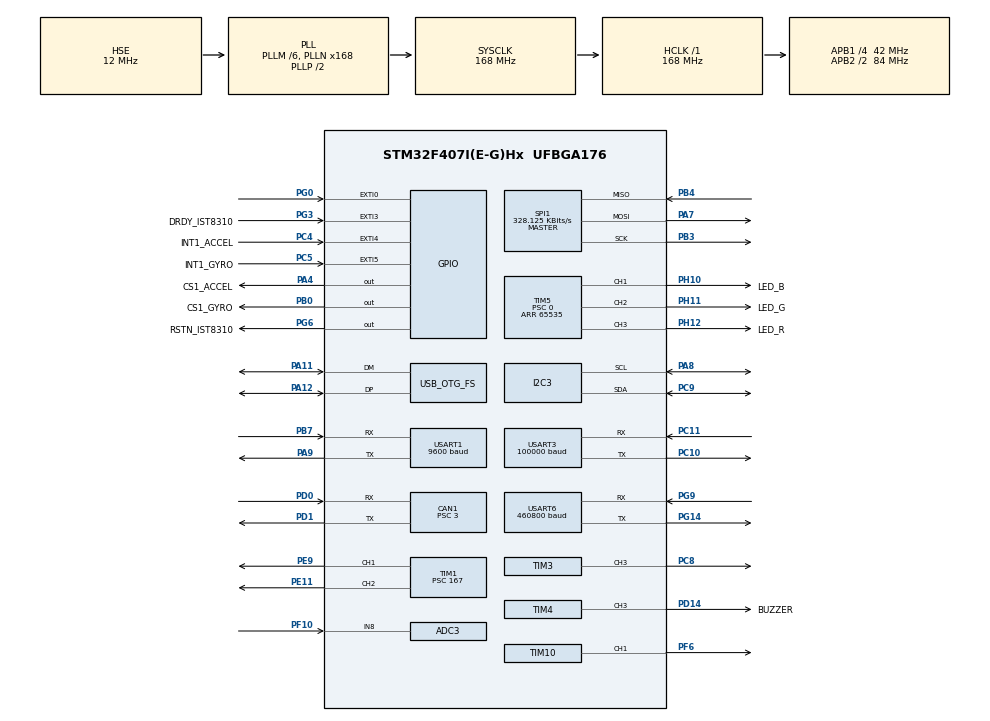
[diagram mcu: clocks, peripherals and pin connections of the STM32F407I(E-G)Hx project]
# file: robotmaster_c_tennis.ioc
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ADC1.Channel-0\#ChannelRegularConversion=ADC_CHANNEL_TEMPSENSOR
ADC1.ClockPrescaler=ADC_CLOCK_SYNC_PCLK_DIV6
ADC1.NbrOfConversionFlag=1
ADC1.Rank-0\#ChannelRegularConversion=1
ADC1.SamplingTime-0\#ChannelRegularConversion=ADC_SAMPLETIME_3CYCLES
ADC1.master=1
ADC3.Channel-0\#ChannelRegularConversion=ADC_CHANNEL_8
ADC3.ClockPrescaler=ADC_CLOCK_SYNC_PCLK_DIV6
ADC3.NbrOfConversionFlag=1
ADC3.Rank-0\#ChannelRegularConversion=1
ADC3.SamplingTime-0\#ChannelRegularConversion=ADC_SAMPLETIME_3CYCLES
CAN1.AutoRetransmission=ENABLE
CAN1.BS1=CAN_BS1_10TQ
CAN1.BS2=CAN_BS2_3TQ
CAN1.CalculateBaudRate=1000000
CAN1.CalculateTimeQuantum=71.42857142857143
CAN1.NART=ENABLE
CAN1.Prescaler=3
Dma.Request0=SPI1_RX
Dma.Request1=SPI1_TX
Dma.Request2=USART3_RX
Dma.Request3=USART6_RX
Dma.Request4=USART6_TX
Dma.SPI1_RX.0.Direction=DMA_PERIPH_TO_MEMORY
Dma.SPI1_RX.0.FIFOMode=DMA_FIFOMODE_DISABLE
Dma.SPI1_RX.0.Instance=DMA2_Stream2
Dma.SPI1_RX.0.MemDataAlignment=DMA_MDATAALIGN_BYTE
Dma.SPI1_RX.0.MemInc=DMA_MINC_ENABLE
Dma.SPI1_RX.0.Mode=DMA_NORMAL
Dma.SPI1_RX.0.PeriphDataAlignment=DMA_PDATAALIGN_BYTE
Dma.SPI1_RX.0.PeriphInc=DMA_PINC_DISABLE
Dma.SPI1_RX.0.Priority=DMA_PRIORITY_VERY_HIGH
Dma.SPI1_TX.1.Direction=DMA_MEMORY_TO_PERIPH
Dma.SPI1_TX.1.FIFOMode=DMA_FIFOMODE_DISABLE
Dma.SPI1_TX.1.Instance=DMA2_Stream3
Dma.SPI1_TX.1.MemDataAlignment=DMA_MDATAALIGN_BYTE
Dma.SPI1_TX.1.MemInc=DMA_MINC_ENABLE
Dma.SPI1_TX.1.Mode=DMA_NORMAL
Dma.SPI1_TX.1.PeriphDataAlignment=DMA_PDATAALIGN_BYTE
Dma.SPI1_TX.1.PeriphInc=DMA_PINC_DISABLE
Dma.SPI1_TX.1.Priority=DMA_PRIORITY_HIGH
Dma.USART3_RX.2.Direction=DMA_PERIPH_TO_MEMORY
Dma.USART3_RX.2.FIFOMode=DMA_FIFOMODE_DISABLE
Dma.USART3_RX.2.Instance=DMA1_Stream1
Dma.USART3_RX.2.MemDataAlignment=DMA_MDATAALIGN_BYTE
Dma.USART3_RX.2.MemInc=DMA_MINC_ENABLE
Dma.USART3_RX.2.Mode=DMA_CIRCULAR
Dma.USART3_RX.2.PeriphDataAlignment=DMA_PDATAALIGN_BYTE
Dma.USART3_RX.2.PeriphInc=DMA_PINC_DISABLE
Dma.USART3_RX.2.Priority=DMA_PRIORITY_HIGH
Dma.USART6_RX.3.Direction=DMA_PERIPH_TO_MEMORY
Dma.USART6_RX.3.FIFOMode=DMA_FIFOMODE_DISABLE
Dma.USART6_RX.3.Instance=DMA2_Stream1
Dma.USART6_RX.3.MemDataAlignment=DMA_MDATAALIGN_BYTE
Dma.USART6_RX.3.MemInc=DMA_MINC_ENABLE
Dma.USART6_RX.3.Mode=DMA_CIRCULAR
Dma.USART6_RX.3.PeriphDataAlignment=DMA_PDATAALIGN_BYTE
Dma.USART6_RX.3.PeriphInc=DMA_PINC_DISABLE
Dma.USART6_RX.3.Priority=DMA_PRIORITY_VERY_HIGH
Dma.USART6_TX.4.Direction=DMA_MEMORY_TO_PERIPH
Dma.USART6_TX.4.FIFOMode=DMA_FIFOMODE_DISABLE
Dma.USART6_TX.4.Instance=DMA2_Stream6
Dma.USART6_TX.4.MemDataAlignment=DMA_MDATAALIGN_BYTE
Dma.USART6_TX.4.MemInc=DMA_MINC_ENABLE
Dma.USART6_TX.4.Mode=DMA_NORMAL
Dma.USART6_TX.4.PeriphDataAlignment=DMA_PDATAALIGN_BYTE
Dma.USART6_TX.4.PeriphInc=DMA_PINC_DISABLE
Dma.USART6_TX.4.Priority=DMA_PRIORITY_VERY_HIGH
FREERTOS.INCLUDE_eTaskGetState=1
FREERTOS.INCLUDE_pcTaskGetTaskName=1
FREERTOS.INCLUDE_uxTaskGetStackHighWaterMark=1
FREERTOS.INCLUDE_vTaskCleanUpResources=1
FREERTOS.INCLUDE_vTaskDelayUntil=1
FREERTOS.INCLUDE_xEventGroupSetBitFromISR=1
FREERTOS.INCLUDE_xQueueGetMutexHolder=1
FREERTOS.INCLUDE_xSemaphoreGetMutexHolder=1
FREERTOS.INCLUDE_xTaskAbortDelay=1
FREERTOS.INCLUDE_xTaskGetCurrentTaskHandle=1
FREERTOS.INCLUDE_xTaskGetHandle=1
FREERTOS.INCLUDE_xTimerPendFunctionCall=1
FREERTOS.Tasks01=test,0,1024,test_task,As weak,NULL,Dynamic,NULL,NULL
FREERTOS.configTOTAL_HEAP_SIZE=24576
I2C3.I2C_Mode=I2C_Fast
Mcu.Family=STM32F4
Mcu.Name=STM32F407I(E-G)Hx
Mcu.Package=UFBGA176
NVIC.CAN1_RX0_IRQn=true\:6\:0\:true\:false\:true\:true\:true\:true\:true
NVIC.DMA1_Stream1_IRQn=true\:6\:0\:true\:false\:false\:true\:false\:false\:true
NVIC.DMA2_Stream1_IRQn=true\:5\:0\:false\:false\:true\:true\:false\:true\:true
NVIC.DMA2_Stream2_IRQn=true\:5\:0\:true\:false\:false\:true\:false\:true\:true
NVIC.DMA2_Stream3_IRQn=true\:5\:0\:true\:false\:false\:true\:false\:true\:true
NVIC.DMA2_Stream6_IRQn=true\:5\:0\:false\:false\:true\:true\:false\:true\:true
NVIC.EXTI0_IRQn=true\:6\:0\:true\:false\:true\:true\:true\:true\:true
NVIC.EXTI3_IRQn=true\:5\:0\:true\:false\:true\:true\:true\:true\:true
NVIC.EXTI4_IRQn=true\:5\:0\:true\:false\:true\:true\:true\:true\:true
NVIC.EXTI9_5_IRQn=true\:5\:0\:true\:false\:true\:true\:true\:true\:true
NVIC.OTG_FS_IRQn=true\:5\:0\:false\:false\:true\:true\:false\:true\:true
NVIC.PriorityGroup=NVIC_PRIORITYGROUP_4
NVIC.TIM6_DAC_IRQn=true\:15\:0\:false\:false\:true\:false\:false\:true\:true
NVIC.TimeBase=TIM6_DAC_IRQn
NVIC.TimeBaseIP=TIM6
NVIC.USART1_IRQn=true\:5\:0\:false\:false\:true\:true\:true\:true\:true
NVIC.USART3_IRQn=true\:6\:0\:true\:false\:false\:false\:true\:true\:true
NVIC.USART6_IRQn=true\:5\:0\:false\:false\:true\:true\:true\:true\:true
PA11.Mode=Device_Only
PA11.Signal=USB_OTG_FS_DM
PA12.Mode=Device_Only
PA12.Signal=USB_OTG_FS_DP
PA13.Mode=Serial_Wire
PA13.Signal=SYS_JTMS-SWDIO
PA14.Mode=Serial_Wire
PA14.Signal=SYS_JTCK-SWCLK
PA4.GPIO_Label=CS1_ACCEL
PA4.GPIO_PuPd=GPIO_PULLUP
PA4.GPIO_Speed=GPIO_SPEED_FREQ_HIGH
PA4.PinState=GPIO_PIN_SET
PA4.Signal=GPIO_Output
PA7.GPIO_PuPd=GPIO_PULLUP
PA7.Mode=Full_Duplex_Master
PA7.Signal=SPI1_MOSI
PA8.Mode=I2C
PA8.Signal=I2C3_SCL
PA9.Mode=Asynchronous
PA9.Signal=USART1_TX
PB0.GPIO_Label=CS1_GYRO
PB0.GPIO_PuPd=GPIO_PULLUP
PB0.GPIO_Speed=GPIO_SPEED_FREQ_HIGH
PB0.PinState=GPIO_PIN_SET
PB0.Signal=GPIO_Output
PB3.GPIO_PuPd=GPIO_PULLUP
PB3.Mode=Full_Duplex_Master
PB3.Signal=SPI1_SCK
PB4.GPIO_PuPd=GPIO_PULLUP
PB4.Mode=Full_Duplex_Master
PB4.Signal=SPI1_MISO
PB7.Mode=Asynchronous
PB7.Signal=USART1_RX
PC10.Mode=Asynchronous
PC10.Signal=USART3_TX
PC11.Mode=Asynchronous
PC11.Signal=USART3_RX
PC4.GPIO_Label=INT1_ACCEL
PC4.GPIO_ModeDefaultEXTI=GPIO_MODE_IT_FALLING
PC4.GPIO_PuPd=GPIO_PULLUP
PC4.Signal=GPXTI4
PC5.GPIO_Label=INT1_GYRO
PC5.GPIO_ModeDefaultEXTI=GPIO_MODE_IT_FALLING
PC5.GPIO_PuPd=GPIO_PULLUP
PC5.Signal=GPXTI5
PC8.GPIO_PuPd=GPIO_PULLUP
PC8.GPIO_Speed=GPIO_SPEED_FREQ_HIGH
PC8.Signal=S_TIM3_CH3
PC9.Mode=I2C
PC9.Signal=I2C3_SDA
PD0.Mode=CAN_Activate
PD0.Signal=CAN1_RX
PD1.Mode=CAN_Activate
PD1.Signal=CAN1_TX
PD14.GPIO_Label=BUZZER
PD14.GPIO_PuPd=GPIO_PULLUP
PD14.GPIO_Speed=GPIO_SPEED_FREQ_HIGH
PD14.Signal=S_TIM4_CH3
PF10.Mode=IN8
PF10.Signal=ADC3_IN8
PF6.GPIO_PuPd=GPIO_PULLUP
PF6.GPIO_Speed=GPIO_SPEED_FREQ_HIGH
PF6.Signal=S_TIM10_CH1
PG0.GPIO_ModeDefaultEXTI=GPIO_MODE_IT_FALLING
PG0.GPIO_PuPd=GPIO_PULLUP
PG0.Signal=GPXTI0
PG14.Mode=Asynchronous
PG14.Signal=USART6_TX
PG3.GPIO_Label=DRDY_IST8310
PG3.GPIO_ModeDefaultEXTI=GPIO_MODE_IT_FALLING
PG3.GPIO_PuPd=GPIO_PULLUP
PG3.Signal=GPXTI3
PG6.GPIO_Label=RSTN_IST8310
PG6.GPIO_PuPd=GPIO_PULLUP
PG6.GPIO_Speed=GPIO_SPEED_FREQ_MEDIUM
PG6.PinState=GPIO_PIN_SET
PG6.Signal=GPIO_Output
PG9.Mode=Asynchronous
PG9.Signal=USART6_RX
PH0-OSC_IN.Mode=HSE-External-Oscillator
PH0-OSC_IN.Signal=RCC_OSC_IN
PH1-OSC_OUT.Mode=HSE-External-Oscillator
PH1-OSC_OUT.Signal=RCC_OSC_OUT
PH10.GPIO_Label=LED_B
PH10.GPIO_PuPd=GPIO_PULLUP
PH10.GPIO_Speed=GPIO_SPEED_FREQ_HIGH
PH10.Signal=S_TIM5_CH1
PH11.GPIO_Label=LED_G
PH11.GPIO_PuPd=GPIO_PULLUP
PH11.GPIO_Speed=GPIO_SPEED_FREQ_HIGH
PH11.Signal=S_TIM5_CH2
PH12.GPIO_Label=LED_R
PH12.GPIO_PuPd=GPIO_PULLUP
PH12.GPIO_Speed=GPIO_SPEED_FREQ_HIGH
PH12.Signal=S_TIM5_CH3
ProjectManager.HeapSize=0x2000
ProjectManager.StackSize=0x2000
ProjectManager.TargetToolchain=CMake
RCC.48MHZClocksFreq_Value=48000000
RCC.AHBFreq_Value=168000000
RCC.APB1CLKDivider=RCC_HCLK_DIV4
RCC.APB1Freq_Value=42000000
RCC.APB1TimFreq_Value=84000000
RCC.APB2CLKDivider=RCC_HCLK_DIV2
RCC.APB2Freq_Value=84000000
RCC.APB2TimFreq_Value=168000000
RCC.CortexFreq_Value=168000000
RCC.HCLKFreq_Value=168000000
RCC.HSE_VALUE=12000000
RCC.HSI_VALUE=16000000
RCC.LSE_VALUE=32768
RCC.PLLM=6
RCC.PLLN=168
RCC.PLLQ=7
RCC.RCC_RTC_Clock_SourceVirtual=RCC_RTCCLKSOURCE_HSE_DIV30
RCC.RCC_RTC_Clock_Source_FROM_HSE=RCC_RTCCLKSOURCE_HSE_DIV30
RCC.SYSCLKFreq_VALUE=168000000
RCC.SYSCLKSource=RCC_SYSCLKSOURCE_PLLCLK
RCC.VCOOutputFreq_Value=336000000
RTC.AsynchPrediv=124
RTC.SynchPrediv=3199
SH.S_TIM10_CH1.0=TIM10_CH1,PWM Generation1 CH1
SH.S_TIM3_CH3.0=TIM3_CH3,PWM Generation3 CH3
SH.S_TIM4_CH3.0=TIM4_CH3,PWM Generation3 CH3
SH.S_TIM5_CH1.0=TIM5_CH1,PWM Generation1 CH1
SH.S_TIM5_CH2.0=TIM5_CH2,PWM Generation2 CH2
SH.S_TIM5_CH3.0=TIM5_CH3,PWM Generation3 CH3
SPI1.BaudRatePrescaler=SPI_BAUDRATEPRESCALER_256
SPI1.CLKPhase=SPI_PHASE_2EDGE
SPI1.CLKPolarity=SPI_POLARITY_HIGH
SPI1.CalculateBaudRate=328.125 KBits/s
SPI1.Direction=SPI_DIRECTION_2LINES
SPI1.Mode=SPI_MODE_MASTER
SPI1.VirtualType=VM_MASTER
TIM10.Channel=TIM_CHANNEL_1
TIM10.Period=4999
TIM3.Channel-PWM\ Generation3\ CH3=TIM_CHANNEL_3
TIM3.Period=8399
TIM4.Channel-PWM\ Generation3\ CH3=TIM_CHANNEL_3
TIM4.Period=65535
TIM4.Prescaler=167
TIM5.Channel-PWM\ Generation1\ CH1=TIM_CHANNEL_1
TIM5.Channel-PWM\ Generation2\ CH2=TIM_CHANNEL_2
TIM5.Channel-PWM\ Generation3\ CH3=TIM_CHANNEL_3
TIM5.Period=65535
TIM5.Prescaler=0
TIM8.Period=19999
TIM8.Prescaler=167
USART1.BaudRate=9600
USART1.VirtualMode=VM_ASYNC
USART3.BaudRate=100000
USART3.Parity=PARITY_EVEN
USART3.StopBits=STOPBITS_2
USART3.VirtualMode=VM_ASYNC
USART3.WordLength=WORDLENGTH_9B
USART6.BaudRate=460800
USART6.VirtualMode=VM_ASYNC
USB_DEVICE.CLASS_NAME_FS=CDC
USB_DEVICE.VirtualMode-CDC_FS=Cdc
USB_DEVICE.VirtualModeFS=Cdc_FS
USB_OTG_FS.VirtualMode=Device_Only
VP_ADC1_TempSens_Input.Mode=IN-TempSens
VP_ADC1_Vref_Input.Mode=IN-Vrefint
VP_FREERTOS_VS_CMSIS_V1.Mode=CMSIS_V1
VP_RTC_VS_RTC_Activate.Mode=RTC_Enabled
VP_SYS_VS_tim6.Mode=TIM6
VP_TIM10_VS_ClockSourceINT.Mode=Enable_Timer
VP_TIM3_VS_ClockSourceINT.Mode=Internal
VP_TIM4_VS_ClockSourceINT.Mode=Internal
VP_TIM5_VS_ClockSourceINT.Mode=Internal
VP_TIM8_VS_ClockSourceINT.Mode=Internal
VP_USB_DEVICE_VS_USB_DEVICE_CDC_FS.Mode=CDC_FS
board=custom
PE9.GPIO_PuPd=GPIO_PULLUP
PE9.GPIO_Speed=GPIO_SPEED_FREQ_HIGH
PE9.Signal=S_TIM1_CH1
PE11.GPIO_PuPd=GPIO_PULLUP
PE11.GPIO_Speed=GPIO_SPEED_FREQ_HIGH
PE11.Signal=S_TIM1_CH2
SH.S_TIM1_CH1.0=TIM1_CH1,PWM Generation1 CH1
SH.S_TIM1_CH2.0=TIM1_CH2,PWM Generation2 CH2
TIM1.Channel-PWM\ Generation1\ CH1=TIM_CHANNEL_1
TIM1.Channel-PWM\ Generation2\ CH2=TIM_CHANNEL_2
TIM1.Period=19999
TIM1.Prescaler=167
TIM1.Pulse-PWM\ Generation1\ CH1=1500
TIM1.Pulse-PWM\ Generation2\ CH2=1500
VP_TIM1_VS_ClockSourceINT.Mode=Internal

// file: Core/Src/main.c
/* USER CODE BEGIN Header */
/**
  ******************************************************************************
  * @file           : main.c
  * @brief          : Main program body
  ******************************************************************************
  * @attention
  *
  * Copyright (c) 2026 STMicroelectronics.
  * All rights reserved.
  *
  * This software is licensed under terms that can be found in the LICENSE file
  * in the root directory of this software component.
  * If no LICENSE file comes with this software, it is provided AS-IS.
  *
  ******************************************************************************
  */
/* USER CODE END Header */
#include "main.h"
#include "cmsis_os.h"
#include "adc.h"
#include "can.h"
#include "dma.h"
#include "i2c.h"
#include "rtc.h"
#include "spi.h"
#include "tim.h"
#include "usart.h"
#include "usb_device.h"
#include "gpio.h"

/* USER CODE BEGIN Includes */
#include "bsp_can.h"
#include "bsp_can_fifo.h"
#include "bsp_delay.h"
#include "calibrate_task.h"
#include "bsp_buzzer.h"
#include "remote_control.h"
#include "host_comm_task.h"
/* USER CODE END Includes */

void SystemClock_Config(void);
void MX_FREERTOS_Init(void);

int main(void)
{

  /* MCU Configuration--------------------------------------------------------*/

  /* Reset of all peripherals, Initializes the Flash interface and the Systick. */
  HAL_Init();

  /* Configure the system clock */
  SystemClock_Config();

  /* Initialize all configured peripherals */
  MX_GPIO_Init();
  MX_DMA_Init();
  MX_CAN1_Init();
  MX_SPI1_Init();
  MX_TIM4_Init();
  MX_TIM5_Init();
  MX_USART3_UART_Init();
  MX_TIM8_Init();
  MX_I2C3_Init();
  MX_RTC_Init();
  MX_TIM3_Init();
  MX_TIM10_Init();
  MX_USART6_UART_Init();
  MX_ADC1_Init();
  MX_ADC3_Init();
  MX_USART1_UART_Init();
  MX_TIM1_Init();
  /* USER CODE BEGIN 2 */
  MX_USB_DEVICE_Init();
  delay_init();
  HAL_TIM_PWM_Start(&htim4, TIM_CHANNEL_3);  /* buzzer */
  HAL_TIM_PWM_Start(&htim5, TIM_CHANNEL_1);  /* LED B */
  HAL_TIM_PWM_Start(&htim5, TIM_CHANNEL_2);  /* LED G */
  HAL_TIM_PWM_Start(&htim5, TIM_CHANNEL_3);  /* LED R */
  HAL_TIM_PWM_Start(&htim10, TIM_CHANNEL_1); /* IMU heater */
  can_fifo_init();
  can_filter_init();
  cali_param_init();
  remote_control_init();
  host_comm_init();
  /* USER CODE END 2 */

  /* Call init function for freertos objects (in cmsis_os2.c) */
  MX_FREERTOS_Init();

  /* Start scheduler */
  osKernelStart();

  /* We should never get here as control is now taken by the scheduler */

  /* Infinite loop */
  while (1)
  {

  }
}

void SystemClock_Config(void)
{
  RCC_OscInitTypeDef RCC_OscInitStruct = {0};
  RCC_ClkInitTypeDef RCC_ClkInitStruct = {0};

  /** Configure the main internal regulator output voltage
  */
  __HAL_RCC_PWR_CLK_ENABLE();
  __HAL_PWR_VOLTAGESCALING_CONFIG(PWR_REGULATOR_VOLTAGE_SCALE1);

  /** Initializes the RCC Oscillators according to the specified parameters
  * in the RCC_OscInitTypeDef structure.
  */
  RCC_OscInitStruct.OscillatorType = RCC_OSCILLATORTYPE_HSE;
  RCC_OscInitStruct.HSEState = RCC_HSE_ON;
  RCC_OscInitStruct.PLL.PLLState = RCC_PLL_ON;
  RCC_OscInitStruct.PLL.PLLSource = RCC_PLLSOURCE_HSE;
  RCC_OscInitStruct.PLL.PLLM = 6;
  RCC_OscInitStruct.PLL.PLLN = 168;
  RCC_OscInitStruct.PLL.PLLP = RCC_PLLP_DIV2;
  RCC_OscInitStruct.PLL.PLLQ = 7;
  if (HAL_RCC_OscConfig(&RCC_OscInitStruct) != HAL_OK)
  {
    Error_Handler();
  }

  /** Initializes the CPU, AHB and APB buses clocks
  */
  RCC_ClkInitStruct.ClockType = RCC_CLOCKTYPE_HCLK|RCC_CLOCKTYPE_SYSCLK
                              |RCC_CLOCKTYPE_PCLK1|RCC_CLOCKTYPE_PCLK2;
  RCC_ClkInitStruct.SYSCLKSource = RCC_SYSCLKSOURCE_PLLCLK;
  RCC_ClkInitStruct.AHBCLKDivider = RCC_SYSCLK_DIV1;
  RCC_ClkInitStruct.APB1CLKDivider = RCC_HCLK_DIV4;
  RCC_ClkInitStruct.APB2CLKDivider = RCC_HCLK_DIV2;

  if (HAL_RCC_ClockConfig(&RCC_ClkInitStruct, FLASH_LATENCY_5) != HAL_OK)
  {
    Error_Handler();
  }
}

void HAL_TIM_PeriodElapsedCallback(TIM_HandleTypeDef *htim)
{
  if (htim->Instance == TIM6)
  {
    HAL_IncTick();
  }
}

void Error_Handler(void)
{
  __disable_irq();
  while (1)
  {
  }
}

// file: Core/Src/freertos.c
/* USER CODE BEGIN Header */
/**
  ******************************************************************************
  * File Name          : freertos.c
  * Description        : Code for freertos applications
  ******************************************************************************
  * @attention
  *
  * Copyright (c) 2026 STMicroelectronics.
  * All rights reserved.
  *
  * This software is licensed under terms that can be found in the LICENSE file
  * in the root directory of this software component.
  * If no LICENSE file comes with this software, it is provided AS-IS.
  *
  ******************************************************************************
  */
/* USER CODE END Header */

#include "FreeRTOS.h"
#include "task.h"
#include "main.h"
#include "cmsis_os.h"

/* USER CODE BEGIN Includes */
#include "calibrate_task.h"
#include "chassis_task.h"
#include "can_task.h"
#include "detect_task.h"
#include "INS_task.h"
#include "led_flow_task.h"
#include "voltage_task.h"
#include "host_comm_task.h"
#include "launcher_task.h"
/* USER CODE END Includes */

/* USER CODE BEGIN Variables */
osThreadId calibrateHandle;
osThreadId chassisHandle;
osThreadId canHandle;
osThreadId detectHandle;
osThreadId imuHandle;
osThreadId ledHandle;
osThreadId batteryVoltageHandle;
osThreadId hostCommHandle;
osThreadId launcherHandle;
/* USER CODE END Variables */
osThreadId testHandle;

void test_task(void const * argument);

extern void MX_USB_DEVICE_Init(void);
void MX_FREERTOS_Init(void); /* (MISRA C 2004 rule 8.1) */

/* GetIdleTaskMemory prototype (linked to static allocation support) */
void vApplicationGetIdleTaskMemory( StaticTask_t **ppxIdleTaskTCBBuffer, StackType_t **ppxIdleTaskStackBuffer, uint32_t *pulIdleTaskStackSize );

/* GetTimerTaskMemory prototype (linked to static allocation support) */
void vApplicationGetTimerTaskMemory( StaticTask_t **ppxTimerTaskTCBBuffer, StackType_t **ppxTimerTaskStackBuffer, uint32_t *pulTimerTaskStackSize );

/* USER CODE BEGIN GET_IDLE_TASK_MEMORY */
static StaticTask_t xIdleTaskTCBBuffer;
static StackType_t xIdleStack[configMINIMAL_STACK_SIZE];

void vApplicationGetIdleTaskMemory( StaticTask_t **ppxIdleTaskTCBBuffer, StackType_t **ppxIdleTaskStackBuffer, uint32_t *pulIdleTaskStackSize )
{
  *ppxIdleTaskTCBBuffer = &xIdleTaskTCBBuffer;
  *ppxIdleTaskStackBuffer = &xIdleStack[0];
  *pulIdleTaskStackSize = configMINIMAL_STACK_SIZE;
  /* place for user code */
}
/* USER CODE END GET_IDLE_TASK_MEMORY */

/* USER CODE BEGIN GET_TIMER_TASK_MEMORY */
static StaticTask_t xTimerTaskTCBBuffer;
static StackType_t xTimerStack[configTIMER_TASK_STACK_DEPTH];

void vApplicationGetTimerTaskMemory( StaticTask_t **ppxTimerTaskTCBBuffer, StackType_t **ppxTimerTaskStackBuffer, uint32_t *pulTimerTaskStackSize )
{
  *ppxTimerTaskTCBBuffer = &xTimerTaskTCBBuffer;
  *ppxTimerTaskStackBuffer = &xTimerStack[0];
  *pulTimerTaskStackSize = configTIMER_TASK_STACK_DEPTH;
  /* place for user code */
}
/* USER CODE END GET_TIMER_TASK_MEMORY */

void MX_FREERTOS_Init(void) {

  /* Create the thread(s) */
  /* definition and creation of test */
  osThreadDef(test, test_task, osPriorityNormal, 0, 1024);
  testHandle = osThreadCreate(osThread(test), NULL);

  /* USER CODE BEGIN RTOS_THREADS */
  osThreadDef(launcher, launcher_task, osPriorityNormal, 0, 256);
  launcherHandle = osThreadCreate(osThread(launcher), NULL);

  osThreadDef(can, can_task, osPriorityAboveNormal, 0, 256);
  canHandle = osThreadCreate(osThread(can), NULL);

  osThreadDef(battery_voltage, battery_voltage_task, osPriorityNormal, 0, 128);
  batteryVoltageHandle = osThreadCreate(osThread(battery_voltage), NULL);

  osThreadDef(host_comm, host_comm_task, osPriorityNormal, 0, 512);
  hostCommHandle = osThreadCreate(osThread(host_comm), NULL);

  osThreadDef(cali, calibrate_task, osPriorityNormal, 0, 512);
  calibrateHandle = osThreadCreate(osThread(cali), NULL);

  osThreadDef(chassis, chassis_task, osPriorityAboveNormal, 0, 512);
  chassisHandle = osThreadCreate(osThread(chassis), NULL);

  osThreadDef(detect, detect_task, osPriorityNormal, 0, 256);
  detectHandle = osThreadCreate(osThread(detect), NULL);

  osThreadDef(imu, INS_task, osPriorityRealtime, 0, 1024);
  imuHandle = osThreadCreate(osThread(imu), NULL);

  osThreadDef(led, led_RGB_flow_task, osPriorityNormal, 0, 256);
  ledHandle = osThreadCreate(osThread(led), NULL);
  /* USER CODE END RTOS_THREADS */

}

__weak void test_task(void const * argument)
{
  /* init code for USB_DEVICE */
  MX_USB_DEVICE_Init();
  for(;;)
  {
    osDelay(1);
  }
}
